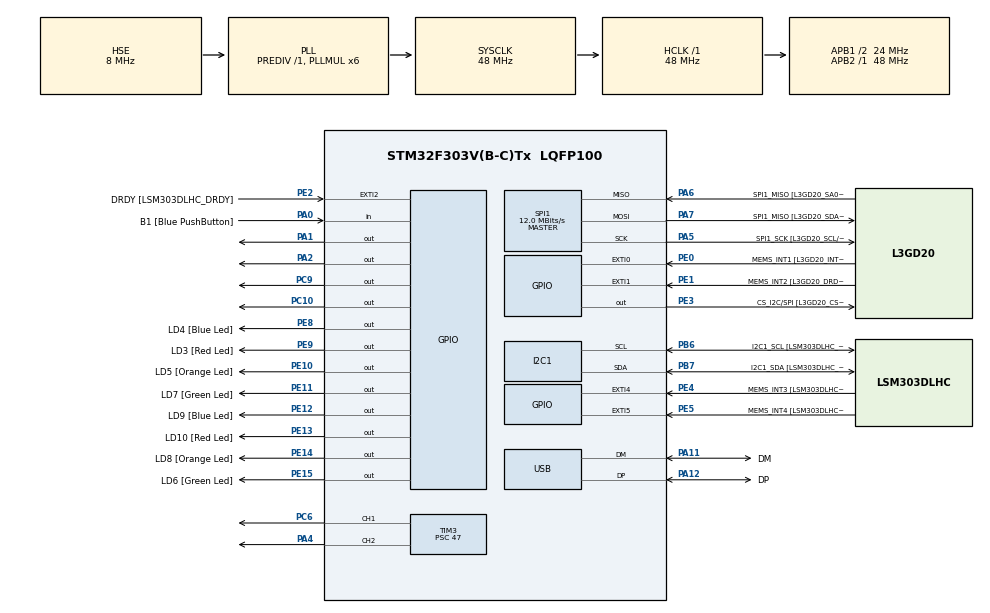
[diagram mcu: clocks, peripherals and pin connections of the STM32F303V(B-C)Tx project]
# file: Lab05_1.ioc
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I2C1.Timing=0x00201D2B
I2C1.Timing-I2C=0x2000090E
Mcu.Family=STM32F3
Mcu.Name=STM32F303V(B-C)Tx
Mcu.Package=LQFP100
NVIC.PriorityGroup=NVIC_PRIORITYGROUP_0
PA0.GPIO_Label=B1 [Blue PushButton]
PA0.Signal=GPIO_Input
PA1.Signal=GPIO_Output
PA11.GPIO_Label=DM
PA11.Mode=Device
PA11.Signal=USB_DM
PA12.GPIO_Label=DP
PA12.Mode=Device
PA12.Signal=USB_DP
PA13.GPIO_Label=SWDIO
PA13.Mode=Serial_Wire
PA13.Signal=SYS_JTMS-SWDIO
PA14.GPIO_Label=SWCLK
PA14.Mode=Serial_Wire
PA14.Signal=SYS_JTCK-SWCLK
PA2.Signal=GPIO_Output
PA4.Signal=S_TIM3_CH2
PA5.GPIO_Label=SPI1_SCK [L3GD20_SCL/SPC]
PA5.Mode=Full_Duplex_Master
PA5.Signal=SPI1_SCK
PA6.GPIO_Label=SPI1_MISO [L3GD20_SA0/SDO]
PA6.Mode=Full_Duplex_Master
PA6.Signal=SPI1_MISO
PA7.GPIO_Label=SPI1_MISO [L3GD20_SDA/SDI/SDO]
PA7.Mode=Full_Duplex_Master
PA7.Signal=SPI1_MOSI
PB3.GPIO_Label=SWO
PB3.Signal=SYS_JTDO-TRACESWO
PB6.GPIO_Label=I2C1_SCL [LSM303DLHC_SCL]
PB6.GPIO_Pu=GPIO_PULLUP
PB6.Mode=I2C
PB6.Signal=I2C1_SCL
PB7.GPIO_Label=I2C1_SDA [LSM303DLHC_SDA]
PB7.GPIO_Pu=GPIO_PULLUP
PB7.Mode=I2C
PB7.Signal=I2C1_SDA
PC10.Signal=GPIO_Output
PC14-OSC32_IN.GPIO_Label=OSC32_IN
PC14-OSC32_IN.Signal=RCC_OSC32_IN
PC15-OSC32_OUT.GPIO_Label=OSC32_OUT
PC15-OSC32_OUT.Signal=RCC_OSC32_OUT
PC6.Signal=S_TIM3_CH1
PC9.Signal=GPIO_Output
PE0.GPIO_Label=MEMS_INT1 [L3GD20_INT1]
PE0.GPIO_ModeDefaultEXTI=GPIO_MODE_EVT_RISING
PE0.Signal=GPXTI0
PE1.GPIO_Label=MEMS_INT2 [L3GD20_DRDY/INT2]
PE1.GPIO_ModeDefaultEXTI=GPIO_MODE_EVT_RISING
PE1.Signal=GPXTI1
PE10.GPIO_Label=LD5 [Orange Led]
PE10.Signal=GPIO_Output
PE11.GPIO_Label=LD7 [Green Led]
PE11.Signal=GPIO_Output
PE12.GPIO_Label=LD9 [Blue Led]
PE12.Signal=GPIO_Output
PE13.GPIO_Label=LD10 [Red Led]
PE13.Signal=GPIO_Output
PE14.GPIO_Label=LD8 [Orange Led]
PE14.Signal=GPIO_Output
PE15.GPIO_Label=LD6 [Green Led]
PE15.Signal=GPIO_Output
PE2.GPIO_Label=DRDY [LSM303DLHC_DRDY]
PE2.GPIO_ModeDefaultEXTI=GPIO_MODE_EVT_RISING
PE2.Signal=GPXTI2
PE3.GPIO_Label=CS_I2C/SPI [L3GD20_CS_I2C/SPI]
PE3.Signal=GPIO_Output
PE4.GPIO_Label=MEMS_INT3 [LSM303DLHC_INT1]
PE4.GPIO_ModeDefaultEXTI=GPIO_MODE_EVT_RISING
PE4.Signal=GPXTI4
PE5.GPIO_Label=MEMS_INT4 [LSM303DLHC_INT2]
PE5.GPIO_ModeDefaultEXTI=GPIO_MODE_EVT_RISING
PE5.Signal=GPXTI5
PE8.GPIO_Label=LD4 [Blue Led]
PE8.Signal=GPIO_Output
PE9.GPIO_Label=LD3 [Red Led]
PE9.Signal=GPIO_Output
PF0-OSC_IN.GPIO_Label=OSC_IN
PF0-OSC_IN.Mode=HSE-External-Clock-Source
PF0-OSC_IN.Signal=RCC_OSC_IN
PF1-OSC_OUT.GPIO_Label=OSC_OUT
PF1-OSC_OUT.Signal=RCC_OSC_OUT
ProjectManager.HeapSize=0x200
ProjectManager.StackSize=0x400
ProjectManager.TargetToolchain=CMake
RCC.AHBFreq_Value=48000000
RCC.APB1CLKDivider=RCC_HCLK_DIV2
RCC.APB1Freq_Value=24000000
RCC.APB1TimFreq_Value=48000000
RCC.APB2Freq_Value=48000000
RCC.APB2TimFreq_Value=48000000
RCC.CortexFreq_Value=48000000
RCC.HCLKFreq_Value=48000000
RCC.HSE_VALUE=8000000
RCC.HSI_VALUE=8000000
RCC.LSE_VALUE=32768
RCC.PLLMUL=RCC_PLL_MUL6
RCC.SYSCLKFreq_VALUE=48000000
RCC.SYSCLKSourceVirtual=RCC_SYSCLKSOURCE_PLLCLK
RCC.USBFreq_Value=48000000
SH.S_TIM3_CH1.0=TIM3_CH1,PWM Generation1 CH1
SH.S_TIM3_CH2.0=TIM3_CH2,PWM Generation2 CH2
SPI1.BaudRatePrescaler=SPI_BAUDRATEPRESCALER_4
SPI1.BaudRatePrescaler-Full_Duplex_Master=SPI_BAUDRATEPRESCALER_2
SPI1.CalculateBaudRate=12.0 MBits/s
SPI1.CalculateBaudRate-Full_Duplex_Master=24.0 MBits/s
SPI1.Direction=SPI_DIRECTION_2LINES
SPI1.Mode=SPI_MODE_MASTER
SPI1.Mode-Full_Duplex_Master=SPI_MODE_MASTER
SPI1.VirtualType=VM_MASTER
TIM3.Channel-PWM\ Generation1\ CH1=TIM_CHANNEL_1
TIM3.Channel-PWM\ Generation2\ CH2=TIM_CHANNEL_2
TIM3.Period=999
TIM3.Prescaler=47
board=STM32F3DISCOVERY

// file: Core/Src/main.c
/* USER CODE BEGIN Header */
/**
  ******************************************************************************
  * @file           : main.c
  * @brief          : Main program body
  ******************************************************************************
  * @attention
  *
  * Copyright (c) 2026 STMicroelectronics.
  * All rights reserved.
  *
  * This software is licensed under terms that can be found in the LICENSE file
  * in the root directory of this software component.
  * If no LICENSE file comes with this software, it is provided AS-IS.
  *
  ******************************************************************************
  */
/* USER CODE END Header */
#include "main.h"

/* USER CODE BEGIN PTD */
typedef struct {
    GPIO_TypeDef      *in1_port;  uint16_t in1_pin;   // forward = HIGH
    GPIO_TypeDef      *in2_port;  uint16_t in2_pin;   // forward = LOW
    TIM_HandleTypeDef *htim;      uint32_t channel;   // PWM timer + channel
} Motor_t;
/* USER CODE END PTD */

/* USER CODE BEGIN PD */
#define MOTOR_MAX  999

/* USER CODE END PD */

I2C_HandleTypeDef hi2c1;

SPI_HandleTypeDef hspi1;

TIM_HandleTypeDef htim3;

PCD_HandleTypeDef hpcd_USB_FS;

/* USER CODE BEGIN PV */
Motor_t motorA = { GPIOA, GPIO_PIN_1, GPIOA, GPIO_PIN_2, &htim3, TIM_CHANNEL_1 };  // right motor
Motor_t motorB = { GPIOA, GPIO_PIN_3, GPIOF, GPIO_PIN_4, &htim3, TIM_CHANNEL_2 };  // left motor
/* USER CODE END PV */

void SystemClock_Config(void);
static void MX_GPIO_Init(void);
static void MX_I2C1_Init(void);
static void MX_SPI1_Init(void);
static void MX_TIM3_Init(void);
static void MX_USB_PCD_Init(void);
/* USER CODE BEGIN PFP */
void Motor_Forward(Motor_t *m, uint16_t speed);
void Motor_Backward(Motor_t *m, uint16_t speed);
void Motor_Stop(Motor_t *m);
void rightMotorForward(int speed);
void rightMotorBackward(int speed);
void leftMotorForward(int speed);
void leftMotorBackward(int speed);
void rightMotorStop(void);
void leftMotorStop(void);
void bothMotorsStop(void);
void bothMotorsForward(int speed);
void bothMotorsBackward(int speed);
/* USER CODE END PFP */

int main(void)
{

  /* MCU Configuration--------------------------------------------------------*/

  /* Reset of all peripherals, Initializes the Flash interface and the Systick. */
  HAL_Init();

  /* Configure the system clock */
  SystemClock_Config();

  /* Initialize all configured peripherals */
  MX_GPIO_Init();
  MX_I2C1_Init();
  MX_SPI1_Init();
  MX_TIM3_Init();
  MX_USB_PCD_Init();
  /* USER CODE BEGIN 2 */
  //task1
  // HAL_TIM_PWM_Start(&htim3, TIM_CHANNEL_1);
  // uint16_t pulse = 0;
  // int16_t step = 5;
  //task1 begin
    // __HAL_TIM_SET_COMPARE(&htim3, TIM_CHANNEL_1, pulse);
    // task1 end
  //task2 begin

HAL_TIM_PWM_Start(&htim3, TIM_CHANNEL_1);   // motor A PWM
HAL_TIM_PWM_Start(&htim3, TIM_CHANNEL_2);   // motor B PWM
//old code 134 to 135
// Motor_Stop(&motorA);
// Motor_Stop(&motorB);
bothMotorsStop();

  /* USER CODE END 2 */

  /* Infinite loop */
  while (1)
{

    /* USER CODE BEGIN 3 */
    // Ensure both motors are stopped before starting the cycle
  bothMotorsStop();
  HAL_Delay(1000);

  // --- TEST 1: Right Motor Isolation ---
  // Ensures the right motor moves independently while the left stays dead
  rightMotorForward(500);
  HAL_Delay(1500);
  rightMotorStop();
  HAL_Delay(500);
  rightMotorBackward(500);
  HAL_Delay(1500);
  bothMotorsStop();
  HAL_Delay(1000);

  // --- TEST 2: Left Motor Isolation ---
  // Ensures the left motor moves independently while the right stays dead
  leftMotorForward(500);
  HAL_Delay(1500);
  leftMotorStop();
  HAL_Delay(500);
  leftMotorBackward(500);
  HAL_Delay(1500);
  bothMotorsStop();
  HAL_Delay(1000);

  // --- TEST 3: Synchronized Drive ---
  // Verifies both motors can push the robot forward and backward together
  bothMotorsForward(600);
  HAL_Delay(2000);
  bothMotorsStop();
  HAL_Delay(500);
  bothMotorsBackward(600);
  HAL_Delay(2000);
  bothMotorsStop();
  HAL_Delay(1000);

// Test 1 (left motors forward at half speed)
  //   leftMotorForward(500);
  //   HAL_Delay(1000);

  //   // Test 2 (left motors Backward at half speed)
  //   leftMotorBackward(500);
  //   HAL_Delay(1000);

  //   // Test 3 (right motors forward at half speed)
  //   rightMotorForward(500);
  //   HAL_Delay(1000);

  //   // Test 4 (right motors Backward at half speed)
  //   rightMotorBackward(500);
  //   HAL_Delay(1000);

  //   // Test 5 (Both motors forward at half speed)
  //   bothMotorsForward(500);
  //   HAL_Delay(1000);

  //   // Test 6 (Both motors Backward at half speed)
  //   bothMotorsBackward(500);
  //   HAL_Delay(1000);

  //   // Test 7 (Both motors Stop)
  //   bothMotorsStop();
  //   HAL_Delay(1000);

  //   // Test 8 (Both motors Stop)
  //   bothMotorsStop();
  //   HAL_Delay(1000);
  // }    // __HAL_TIM_SET_COMPARE(&htim3, TIM_CHANNEL_1, pulse);

  // pulse += step;
  // if (pulse >= 999) { pulse = 999; step = -5; }   // ARR = 999
  // if (pulse <= 0)   { pulse = 0;   step = 5;  }

// HAL_Delay(5);   // this delay only sets the fade speed

  /* USER CODE END 3 */
}
}

void SystemClock_Config(void)
{
  RCC_OscInitTypeDef RCC_OscInitStruct = {0};
  RCC_ClkInitTypeDef RCC_ClkInitStruct = {0};
  RCC_PeriphCLKInitTypeDef PeriphClkInit = {0};

  /** Initializes the RCC Oscillators according to the specified parameters
  * in the RCC_OscInitTypeDef structure.
  */
  RCC_OscInitStruct.OscillatorType = RCC_OSCILLATORTYPE_HSI|RCC_OSCILLATORTYPE_HSE;
  RCC_OscInitStruct.HSEState = RCC_HSE_BYPASS;
  RCC_OscInitStruct.HSEPredivValue = RCC_HSE_PREDIV_DIV1;
  RCC_OscInitStruct.HSIState = RCC_HSI_ON;
  RCC_OscInitStruct.HSICalibrationValue = RCC_HSICALIBRATION_DEFAULT;
  RCC_OscInitStruct.PLL.PLLState = RCC_PLL_ON;
  RCC_OscInitStruct.PLL.PLLSource = RCC_PLLSOURCE_HSE;
  RCC_OscInitStruct.PLL.PLLMUL = RCC_PLL_MUL6;
  if (HAL_RCC_OscConfig(&RCC_OscInitStruct) != HAL_OK)
  {
    Error_Handler();
  }

  /** Initializes the CPU, AHB and APB buses clocks
  */
  RCC_ClkInitStruct.ClockType = RCC_CLOCKTYPE_HCLK|RCC_CLOCKTYPE_SYSCLK
                              |RCC_CLOCKTYPE_PCLK1|RCC_CLOCKTYPE_PCLK2;
  RCC_ClkInitStruct.SYSCLKSource = RCC_SYSCLKSOURCE_PLLCLK;
  RCC_ClkInitStruct.AHBCLKDivider = RCC_SYSCLK_DIV1;
  RCC_ClkInitStruct.APB1CLKDivider = RCC_HCLK_DIV2;
  RCC_ClkInitStruct.APB2CLKDivider = RCC_HCLK_DIV1;

  if (HAL_RCC_ClockConfig(&RCC_ClkInitStruct, FLASH_LATENCY_1) != HAL_OK)
  {
    Error_Handler();
  }
  PeriphClkInit.PeriphClockSelection = RCC_PERIPHCLK_USB|RCC_PERIPHCLK_I2C1;
  PeriphClkInit.I2c1ClockSelection = RCC_I2C1CLKSOURCE_HSI;
  PeriphClkInit.USBClockSelection = RCC_USBCLKSOURCE_PLL;
  if (HAL_RCCEx_PeriphCLKConfig(&PeriphClkInit) != HAL_OK)
  {
    Error_Handler();
  }
}

static void MX_I2C1_Init(void)
{

  hi2c1.Instance = I2C1;
  hi2c1.Init.Timing = 0x00201D2B;
  hi2c1.Init.OwnAddress1 = 0;
  hi2c1.Init.AddressingMode = I2C_ADDRESSINGMODE_7BIT;
  hi2c1.Init.DualAddressMode = I2C_DUALADDRESS_DISABLE;
  hi2c1.Init.OwnAddress2 = 0;
  hi2c1.Init.OwnAddress2Masks = I2C_OA2_NOMASK;
  hi2c1.Init.GeneralCallMode = I2C_GENERALCALL_DISABLE;
  hi2c1.Init.NoStretchMode = I2C_NOSTRETCH_DISABLE;
  if (HAL_I2C_Init(&hi2c1) != HAL_OK)
  {
    Error_Handler();
  }

  /** Configure Analogue filter
  */
  if (HAL_I2CEx_ConfigAnalogFilter(&hi2c1, I2C_ANALOGFILTER_ENABLE) != HAL_OK)
  {
    Error_Handler();
  }

  /** Configure Digital filter
  */
  if (HAL_I2CEx_ConfigDigitalFilter(&hi2c1, 0) != HAL_OK)
  {
    Error_Handler();
  }

}

static void MX_SPI1_Init(void)
{

  /* SPI1 parameter configuration*/
  hspi1.Instance = SPI1;
  hspi1.Init.Mode = SPI_MODE_MASTER;
  hspi1.Init.Direction = SPI_DIRECTION_2LINES;
  hspi1.Init.DataSize = SPI_DATASIZE_4BIT;
  hspi1.Init.CLKPolarity = SPI_POLARITY_LOW;
  hspi1.Init.CLKPhase = SPI_PHASE_1EDGE;
  hspi1.Init.NSS = SPI_NSS_SOFT;
  hspi1.Init.BaudRatePrescaler = SPI_BAUDRATEPRESCALER_4;
  hspi1.Init.FirstBit = SPI_FIRSTBIT_MSB;
  hspi1.Init.TIMode = SPI_TIMODE_DISABLE;
  hspi1.Init.CRCCalculation = SPI_CRCCALCULATION_DISABLE;
  hspi1.Init.CRCPolynomial = 7;
  hspi1.Init.CRCLength = SPI_CRC_LENGTH_DATASIZE;
  hspi1.Init.NSSPMode = SPI_NSS_PULSE_ENABLE;
  if (HAL_SPI_Init(&hspi1) != HAL_OK)
  {
    Error_Handler();
  }

}

static void MX_TIM3_Init(void)
{

  TIM_MasterConfigTypeDef sMasterConfig = {0};
  TIM_OC_InitTypeDef sConfigOC = {0};

  htim3.Instance = TIM3;
  htim3.Init.Prescaler = 47;
  htim3.Init.CounterMode = TIM_COUNTERMODE_UP;
  htim3.Init.Period = 999;
  htim3.Init.ClockDivision = TIM_CLOCKDIVISION_DIV1;
  htim3.Init.AutoReloadPreload = TIM_AUTORELOAD_PRELOAD_DISABLE;
  if (HAL_TIM_PWM_Init(&htim3) != HAL_OK)
  {
    Error_Handler();
  }
  sMasterConfig.MasterOutputTrigger = TIM_TRGO_RESET;
  sMasterConfig.MasterSlaveMode = TIM_MASTERSLAVEMODE_DISABLE;
  if (HAL_TIMEx_MasterConfigSynchronization(&htim3, &sMasterConfig) != HAL_OK)
  {
    Error_Handler();
  }
  sConfigOC.OCMode = TIM_OCMODE_PWM1;
  sConfigOC.Pulse = 0;
  sConfigOC.OCPolarity = TIM_OCPOLARITY_HIGH;
  sConfigOC.OCFastMode = TIM_OCFAST_DISABLE;
  if (HAL_TIM_PWM_ConfigChannel(&htim3, &sConfigOC, TIM_CHANNEL_1) != HAL_OK)
  {
    Error_Handler();
  }
  if (HAL_TIM_PWM_ConfigChannel(&htim3, &sConfigOC, TIM_CHANNEL_2) != HAL_OK)
  {
    Error_Handler();
  }
  HAL_TIM_MspPostInit(&htim3);

}

static void MX_USB_PCD_Init(void)
{

  hpcd_USB_FS.Instance = USB;
  hpcd_USB_FS.Init.dev_endpoints = 8;
  hpcd_USB_FS.Init.speed = PCD_SPEED_FULL;
  hpcd_USB_FS.Init.phy_itface = PCD_PHY_EMBEDDED;
  hpcd_USB_FS.Init.low_power_enable = DISABLE;
  hpcd_USB_FS.Init.battery_charging_enable = DISABLE;
  if (HAL_PCD_Init(&hpcd_USB_FS) != HAL_OK)
  {
    Error_Handler();
  }

}

static void MX_GPIO_Init(void)
{
  GPIO_InitTypeDef GPIO_InitStruct = {0};

  /* GPIO Ports Clock Enable */
  __HAL_RCC_GPIOE_CLK_ENABLE();
  __HAL_RCC_GPIOC_CLK_ENABLE();
  __HAL_RCC_GPIOF_CLK_ENABLE();
  __HAL_RCC_GPIOA_CLK_ENABLE();
  __HAL_RCC_GPIOB_CLK_ENABLE();

  /*Configure GPIO pin Output Level */
  HAL_GPIO_WritePin(GPIOE, CS_I2C_SPI_Pin|LD4_Pin|LD3_Pin|LD5_Pin
                          |LD7_Pin|LD9_Pin|LD10_Pin|LD8_Pin
                          |LD6_Pin, GPIO_PIN_RESET);

  /*Configure GPIO pin Output Level */
  HAL_GPIO_WritePin(GPIOA, GPIO_PIN_1|GPIO_PIN_2, GPIO_PIN_RESET);

  /*Configure GPIO pin Output Level */
  HAL_GPIO_WritePin(GPIOC, GPIO_PIN_9|GPIO_PIN_10, GPIO_PIN_RESET);

  /*Configure GPIO pins : DRDY_Pin MEMS_INT3_Pin MEMS_INT4_Pin MEMS_INT1_Pin
                           MEMS_INT2_Pin */
  GPIO_InitStruct.Pin = DRDY_Pin|MEMS_INT3_Pin|MEMS_INT4_Pin|MEMS_INT1_Pin
                          |MEMS_INT2_Pin;
  GPIO_InitStruct.Mode = GPIO_MODE_EVT_RISING;
  GPIO_InitStruct.Pull = GPIO_NOPULL;
  HAL_GPIO_Init(GPIOE, &GPIO_InitStruct);

  /*Configure GPIO pins : CS_I2C_SPI_Pin LD4_Pin LD3_Pin LD5_Pin
                           LD7_Pin LD9_Pin LD10_Pin LD8_Pin
                           LD6_Pin */
  GPIO_InitStruct.Pin = CS_I2C_SPI_Pin|LD4_Pin|LD3_Pin|LD5_Pin
                          |LD7_Pin|LD9_Pin|LD10_Pin|LD8_Pin
                          |LD6_Pin;
  GPIO_InitStruct.Mode = GPIO_MODE_OUTPUT_PP;
  GPIO_InitStruct.Pull = GPIO_NOPULL;
  GPIO_InitStruct.Speed = GPIO_SPEED_FREQ_LOW;
  HAL_GPIO_Init(GPIOE, &GPIO_InitStruct);

  /*Configure GPIO pin : B1_Pin */
  GPIO_InitStruct.Pin = B1_Pin;
  GPIO_InitStruct.Mode = GPIO_MODE_INPUT;
  GPIO_InitStruct.Pull = GPIO_NOPULL;
  HAL_GPIO_Init(B1_GPIO_Port, &GPIO_InitStruct);

  /*Configure GPIO pins : PA1 PA2 */
  GPIO_InitStruct.Pin = GPIO_PIN_1|GPIO_PIN_2;
  GPIO_InitStruct.Mode = GPIO_MODE_OUTPUT_PP;
  GPIO_InitStruct.Pull = GPIO_NOPULL;
  GPIO_InitStruct.Speed = GPIO_SPEED_FREQ_LOW;
  HAL_GPIO_Init(GPIOA, &GPIO_InitStruct);

  /*Configure GPIO pins : PC9 PC10 */
  GPIO_InitStruct.Pin = GPIO_PIN_9|GPIO_PIN_10;
  GPIO_InitStruct.Mode = GPIO_MODE_OUTPUT_PP;
  GPIO_InitStruct.Pull = GPIO_NOPULL;
  GPIO_InitStruct.Speed = GPIO_SPEED_FREQ_LOW;
  HAL_GPIO_Init(GPIOC, &GPIO_InitStruct);

}

/* USER CODE BEGIN 4 */
// --- MOTOR CONTROL FUNCTIONS ---

void rightMotorForward(int speed) {
  HAL_GPIO_WritePin(GPIOA, GPIO_PIN_1, GPIO_PIN_SET);   // Right Motor Direction 1 (PA1)[cite: 5]
  HAL_GPIO_WritePin(GPIOA, GPIO_PIN_2, GPIO_PIN_RESET); // Right Motor Direction 2 (PA2)[cite: 5]
  __HAL_TIM_SET_COMPARE(&htim3, TIM_CHANNEL_1, speed);  // Right Motor PWM (TIM3 CH1)[cite: 5]
}

void rightMotorBackward(int speed) {
  HAL_GPIO_WritePin(GPIOA, GPIO_PIN_1, GPIO_PIN_RESET); // Right Motor Direction 1 (PA1)[cite: 5]
  HAL_GPIO_WritePin(GPIOA, GPIO_PIN_2, GPIO_PIN_SET);   // Right Motor Direction 2 (PA2)[cite: 5]
  __HAL_TIM_SET_COMPARE(&htim3, TIM_CHANNEL_1, speed);  // Right Motor PWM (TIM3 CH1)[cite: 5]
}

void leftMotorForward(int speed) {
  HAL_GPIO_WritePin(GPIOC, GPIO_PIN_10, GPIO_PIN_SET);  // Left Motor Direction 1 (PC10)[cite: 5]
  HAL_GPIO_WritePin(GPIOC, GPIO_PIN_9, GPIO_PIN_RESET); // Left Motor Direction 2 (PC9)[cite: 5]
  __HAL_TIM_SET_COMPARE(&htim3, TIM_CHANNEL_2, speed);  // Left Motor PWM (TIM3 CH2)[cite: 5]
}

void leftMotorBackward(int speed) {
  HAL_GPIO_WritePin(GPIOC, GPIO_PIN_10, GPIO_PIN_RESET); // Left Motor Direction 1 (PC10)[cite: 5]
  HAL_GPIO_WritePin(GPIOC, GPIO_PIN_9, GPIO_PIN_SET);    // Left Motor Direction 2 (PC9)[cite: 5]
  __HAL_TIM_SET_COMPARE(&htim3, TIM_CHANNEL_2, speed);   // Left Motor PWM (TIM3 CH2)[cite: 5]
}

void rightMotorStop() {
  HAL_GPIO_WritePin(GPIOA, GPIO_PIN_1, GPIO_PIN_RESET);
  HAL_GPIO_WritePin(GPIOA, GPIO_PIN_2, GPIO_PIN_RESET);
  __HAL_TIM_SET_COMPARE(&htim3, TIM_CHANNEL_1, 0);
}

void leftMotorStop() {
  HAL_GPIO_WritePin(GPIOC, GPIO_PIN_10, GPIO_PIN_RESET);
  HAL_GPIO_WritePin(GPIOC, GPIO_PIN_9, GPIO_PIN_RESET);
  __HAL_TIM_SET_COMPARE(&htim3, TIM_CHANNEL_2, 0);
}

void bothMotorsStop() {
  leftMotorStop();
  rightMotorStop();
}

void bothMotorsForward(int speed) {
  leftMotorForward(speed);
  rightMotorForward(speed);
}

void bothMotorsBackward(int speed) {
  leftMotorBackward(speed);
  rightMotorBackward(speed);
}
/* USER CODE END 4 */

void Error_Handler(void)
{
  __disable_irq();
  while (1)
  {
  }
}
